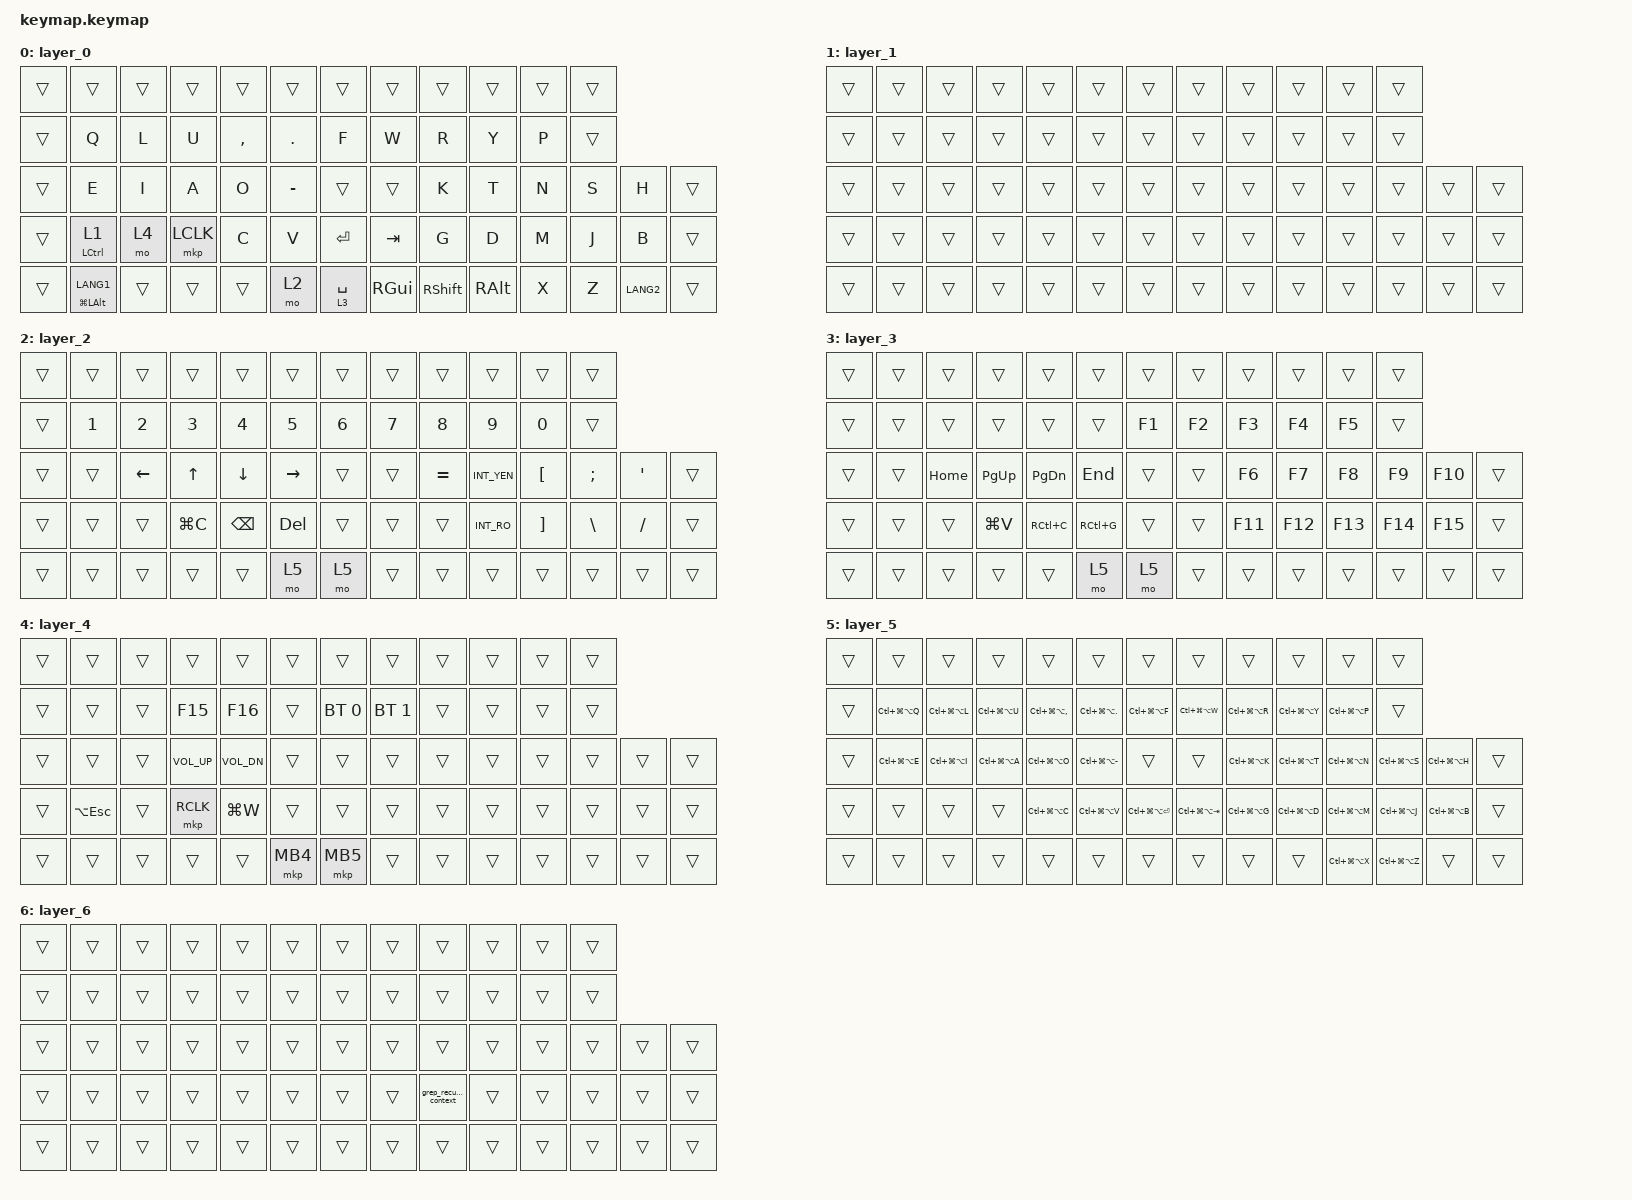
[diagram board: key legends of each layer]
#include <behaviors.dtsi>
#include <dt-bindings/zmk/bt.h>
#include <dt-bindings/zmk/keys.h>
#include <dt-bindings/zmk/outputs.h>
#include <dt-bindings/zmk/pointing.h>

/* ここで既存 behavior を上書き */
&mt {
    flavor = "hold-preferred";
    tapping-term-ms = <200>;
};

&lt {
    flavor = "hold-preferred";
    tapping-term-ms = <200>;
    quick-tap-ms = <250>;
};

/ {
    behaviors {
        ctrl_or_scroll_toggle: ctrl_or_scroll_toggle {
            compatible = "zmk,behavior-hold-tap";
            #binding-cells = <2>;
            flavor = "hold-preferred";
            tapping-term-ms = <200>;
            bindings = <&kp>, <&tog>;
        };
    };

    macros {
        esc_eisu: esc_eisu {
            compatible = "zmk,behavior-macro";
            #binding-cells = <0>;
            bindings
                = <&macro_tap &kp ESCAPE>
                , <&macro_tap &kp LANG2>;
        };

        grep_recursive_context: grep_recursive_context {
            compatible = "zmk,behavior-macro";
            #binding-cells = <0>;
            wait-ms = <5>;
            tap-ms = <5>;
            bindings
                = <&macro_tap &kp LANG2>
                , <&kp G &kp R &kp E &kp P>
                , <&kp SPACE>
                , <&kp MINUS &kp LS(R) &kp N &kp LS(C)>
                , <&kp SPACE &kp N2 &kp SPACE>
                , <&kp MINUS &kp MINUS &kp C &kp O &kp L &kp O &kp R &kp LS(MINUS) &kp A &kp U &kp T &kp O>
                , <&kp SPACE>;
        };
    };

    combos {
        compatible = "zmk,combos";

        ao_escape {
            bindings = <&kp ESCAPE>;
            key-positions = <12 13>;
            layers = <0 1>;
            timeout-ms = <30>;
        };

        tn_ctrl_x {
            bindings = <&kp LC(X)>;
            key-positions = <16 17>;
            layers = <0 1>;
            timeout-ms = <30>;
        };

        tn_ctrl_c {
            bindings = <&kp LC(C)>;
            key-positions = <16 17>;
            layers = <2>;
            timeout-ms = <30>;
        };

        ao_eisu_escape_eisu {
            bindings = <&esc_eisu>;
            key-positions = <12 13 39>;
            layers = <0 1>;
            timeout-ms = <30>;
        };

        aotn_escape_eisu {
            bindings = <&esc_eisu>;
            key-positions = <12 13 16 17>;
            layers = <0 1>;
            timeout-ms = <30>;
        };

        bt_clear {
            bindings = <&bt BT_CLR>;
            key-positions = <28 29>;
            layers = <3>;
        };
    };

    keymap {
        compatible = "zmk,keymap";

        layer_0 {
            bindings = <
                &trans  &trans  &trans  &trans  &trans  &trans  &trans  &trans  &trans  &trans  &trans  &trans
                &trans  &kp Q  &kp L  &kp U  &kp COMMA  &kp DOT  &kp F  &kp W  &kp R  &kp Y  &kp P  &trans
                &trans  &kp E  &kp I  &kp A  &kp O  &kp MINUS  &trans  &trans  &kp K  &kp T  &kp N  &kp S  &kp H  &trans
                &trans  &ctrl_or_scroll_toggle LCTRL 1  &mo 4  &mkp LCLK  &kp C  &kp V  &kp RET  &kp TAB  &kp G  &kp D  &kp M  &kp J  &kp B  &trans
                &trans  &mt LG(LALT) LANG1  &trans  &trans  &trans  &mo 2  &lt 3 SPACE  &kp RGUI  &kp RSHIFT  &kp RALT  &kp X  &kp Z  &kp LANG2  &trans
            >;
        };

        layer_1 {
            bindings = <
                &trans  &trans  &trans  &trans  &trans  &trans  &trans  &trans  &trans  &trans  &trans  &trans
                &trans  &trans  &trans  &trans  &trans  &trans  &trans  &trans  &trans  &trans  &trans  &trans
                &trans  &trans  &trans  &trans  &trans  &trans  &trans  &trans  &trans  &trans  &trans  &trans  &trans  &trans
                &trans  &trans  &trans  &trans  &trans  &trans  &trans  &trans  &trans  &trans  &trans  &trans  &trans  &trans
                &trans  &trans  &trans  &trans  &trans  &trans  &trans  &trans  &trans  &trans  &trans  &trans  &trans  &trans
            >;
        };

        layer_2 {
            bindings = <
                &trans  &trans  &trans  &trans  &trans  &trans  &trans  &trans  &trans  &trans  &trans  &trans
                &trans  &kp N1  &kp N2  &kp N3  &kp N4  &kp N5  &kp N6  &kp N7  &kp N8  &kp N9  &kp N0  &trans
                &trans  &trans  &kp LEFT  &kp UP_ARROW  &kp DOWN  &kp RIGHT  &trans  &trans  &kp EQUAL  &kp INT_YEN  &kp LBKT  &kp SEMI  &kp SQT  &trans
                &trans  &trans  &trans  &kp LG(C)  &kp BSPC  &kp DELETE  &trans  &trans  &trans  &kp INT_RO  &kp RBKT  &kp BSLH  &kp FSLH  &trans
                &trans  &trans  &trans  &trans  &trans  &mo 5  &mo 5  &trans  &trans  &trans  &trans  &trans  &trans  &trans
            >;
        };

        layer_3 {
            bindings = <
                &trans  &trans  &trans  &trans  &trans  &trans  &trans  &trans  &trans  &trans  &trans  &trans
                &trans  &trans  &trans  &trans  &trans  &trans  &kp F1  &kp F2  &kp F3  &kp F4  &kp F5  &trans
                &trans  &trans  &kp HOME  &kp PG_UP  &kp PAGE_DOWN  &kp END  &trans  &trans  &kp F6  &kp F7  &kp F8  &kp F9  &kp F10  &trans
                &trans  &trans  &trans  &kp LG(V)  &kp RC(C)  &kp RC(G)  &trans  &trans  &kp F11  &kp F12  &kp F13  &kp F14  &kp F15  &trans
                &trans  &trans  &trans  &trans  &trans  &mo 5  &mo 5  &trans  &trans  &trans  &trans  &trans  &trans  &trans
            >;
        };

        layer_4 {
            bindings = <
                &trans  &trans  &trans  &trans  &trans  &trans  &trans  &trans  &trans  &trans  &trans  &trans
                &trans  &trans  &trans  &kp F15  &kp F16  &trans  &bt BT_SEL 0  &bt BT_SEL 1  &trans  &trans  &trans  &trans
                &trans  &trans  &trans  &kp K_VOL_UP  &kp K_VOL_DN  &trans  &trans  &trans  &trans  &trans  &trans  &trans  &trans  &trans
                &trans  &kp LA(ESCAPE)  &trans  &mkp RCLK  &kp LG(W)  &trans  &trans  &trans  &trans  &trans  &trans  &trans  &trans  &trans
                &trans  &trans  &trans  &trans  &trans  &mkp MB4  &mkp MB5  &trans  &trans  &trans  &trans  &trans  &trans  &trans
            >;
        };

        layer_5 {
            bindings = <
                &trans  &trans  &trans  &trans  &trans  &trans  &trans  &trans  &trans  &trans  &trans  &trans
                &trans  &kp LC(LG(LA(Q)))  &kp LC(LG(LA(L)))  &kp LC(LG(LA(U)))  &kp LC(LG(LA(COMMA)))  &kp LC(LG(LA(DOT)))  &kp LC(LG(LA(F)))  &kp LC(LG(LA(W)))  &kp LC(LG(LA(R)))  &kp LC(LG(LA(Y)))  &kp LC(LG(LA(P)))  &trans
                &trans  &kp LC(LG(LA(E)))  &kp LC(LG(LA(I)))  &kp LC(LG(LA(A)))  &kp LC(LG(LA(O)))  &kp LC(LG(LA(MINUS)))  &trans  &trans  &kp LC(LG(LA(K)))  &kp LC(LG(LA(T)))  &kp LC(LG(LA(N)))  &kp LC(LG(LA(S)))  &kp LC(LG(LA(H)))  &trans
                &trans  &trans  &trans  &trans  &kp LC(LG(LA(C)))  &kp LC(LG(LA(V)))  &kp LC(LG(LA(RET)))  &kp LC(LG(LA(TAB)))  &kp LC(LG(LA(G)))  &kp LC(LG(LA(D)))  &kp LC(LG(LA(M)))  &kp LC(LG(LA(J)))  &kp LC(LG(LA(B)))  &trans
                &trans  &trans  &trans  &trans  &trans  &trans  &trans  &trans  &trans  &trans  &kp LC(LG(LA(X)))  &kp LC(LG(LA(Z)))  &trans  &trans
            >;
        };

        layer_6 {
            bindings = <
                &trans  &trans  &trans  &trans  &trans  &trans  &trans  &trans  &trans  &trans  &trans  &trans
                &trans  &trans  &trans  &trans  &trans  &trans  &trans  &trans  &trans  &trans  &trans  &trans
                &trans  &trans  &trans  &trans  &trans  &trans  &trans  &trans  &trans  &trans  &trans  &trans  &trans  &trans
                &trans  &trans  &trans  &trans  &trans  &trans  &trans  &trans  &grep_recursive_context  &trans  &trans  &trans  &trans  &trans
                &trans  &trans  &trans  &trans  &trans  &trans  &trans  &trans  &trans  &trans  &trans  &trans  &trans  &trans
            >;
        };
    };
};
